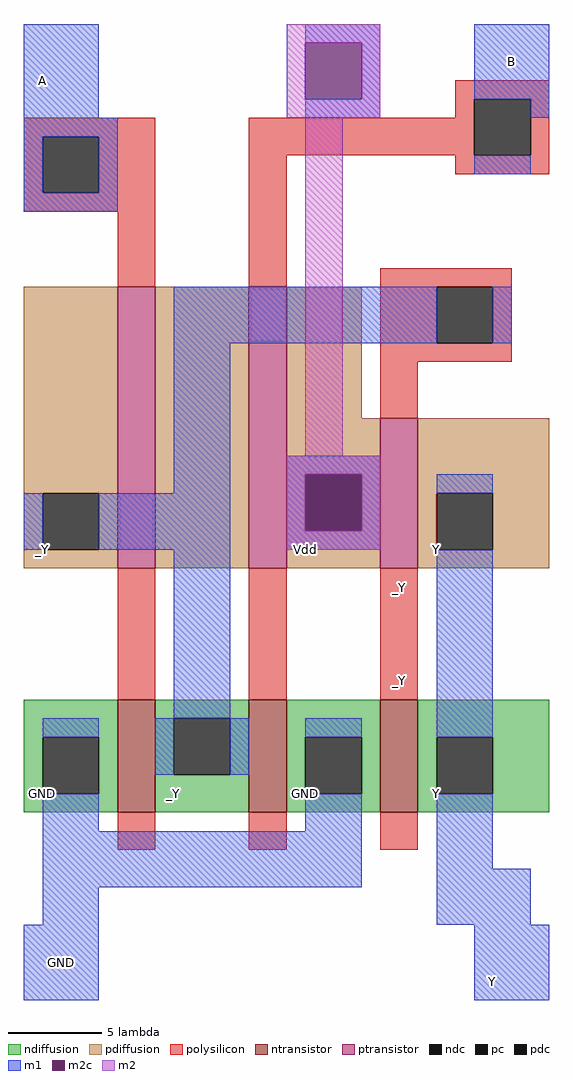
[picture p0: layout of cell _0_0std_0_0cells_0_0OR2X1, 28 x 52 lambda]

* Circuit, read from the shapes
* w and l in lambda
.subckt _0_0std_0_0cells_0_0OR2X1 Y A
M1 _Y A GND VSUBS nfet w=6 l=2
M2 GND B _Y VSUBS nfet w=6 l=2
M3 Y _Y GND VSUBS nfet w=6 l=2
M4 n1 A _Y NWELL pfet w=15 l=2
M5 Vdd B n1 NWELL pfet w=15 l=2
M6 Y _Y Vdd NWELL pfet w=8 l=2
.ends

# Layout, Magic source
magic
tech sky130l
<< ndiffusion >>
rect 8 10 13 12
rect 8 7 9 10
rect 12 7 13 10
rect 8 6 13 7
rect 15 11 20 12
rect 15 8 16 11
rect 19 8 20 11
rect 15 6 20 8
rect 22 10 27 12
rect 22 7 23 10
rect 26 7 27 10
rect 22 6 27 7
rect 29 10 36 12
rect 29 7 30 10
rect 33 7 36 10
rect 29 6 36 7
<< ndc >>
rect 9 7 12 10
rect 16 8 19 11
rect 23 7 26 10
rect 30 7 33 10
<< ntransistor >>
rect 13 6 15 12
rect 20 6 22 12
rect 27 6 29 12
<< pdiffusion >>
rect 8 23 13 34
rect 8 20 9 23
rect 12 20 13 23
rect 8 19 13 20
rect 15 19 20 34
rect 22 27 26 34
rect 22 24 27 27
rect 22 21 23 24
rect 26 21 27 24
rect 22 19 27 21
rect 29 23 36 27
rect 29 20 30 23
rect 33 20 36 23
rect 29 19 36 20
<< pdc >>
rect 9 20 12 23
rect 23 21 26 24
rect 30 20 33 23
<< ptransistor >>
rect 13 19 15 34
rect 20 19 22 34
rect 27 19 29 27
<< polysilicon >>
rect 31 44 36 45
rect 31 43 32 44
rect 8 42 15 43
rect 8 39 9 42
rect 12 39 15 42
rect 8 38 15 39
rect 13 34 15 38
rect 20 41 32 43
rect 35 41 36 44
rect 20 34 22 41
rect 31 40 36 41
rect 27 34 34 35
rect 27 31 30 34
rect 33 31 34 34
rect 27 30 34 31
rect 27 27 29 30
rect 13 12 15 19
rect 20 12 22 19
rect 27 12 29 19
rect 13 4 15 6
rect 20 4 22 6
rect 27 4 29 6
<< pc >>
rect 9 39 12 42
rect 32 41 35 44
rect 30 31 33 34
<< m1 >>
rect 8 43 12 48
rect 23 47 27 48
rect 26 44 27 47
rect 23 43 27 44
rect 32 44 36 48
rect 8 42 13 43
rect 8 39 9 42
rect 12 39 13 42
rect 35 43 36 44
rect 32 40 35 41
rect 8 38 13 39
rect 16 31 30 34
rect 33 31 34 34
rect 16 23 19 31
rect 8 20 9 23
rect 12 20 19 23
rect 22 24 27 25
rect 22 21 23 24
rect 26 21 27 24
rect 22 20 27 21
rect 30 23 33 24
rect 16 11 19 20
rect 9 10 12 11
rect 15 8 16 11
rect 19 8 20 11
rect 23 10 26 11
rect 9 5 12 7
rect 23 5 26 7
rect 9 2 26 5
rect 30 10 33 20
rect 30 3 33 7
rect 9 0 12 2
rect 30 0 35 3
rect 8 -4 12 0
rect 32 -4 36 0
<< m2c >>
rect 23 44 26 47
rect 23 21 26 24
<< m2 >>
rect 22 47 27 48
rect 22 44 23 47
rect 26 44 27 47
rect 22 43 27 44
rect 23 25 25 43
rect 22 24 27 25
rect 22 21 23 24
rect 26 21 27 24
rect 22 20 27 21
<< labels >>
rlabel pdiffusion 30 20 30 20 3 Y
rlabel ndiffusion 30 7 30 7 3 Y
rlabel polysilicon 28 13 28 13 3 _Y
rlabel polysilicon 28 18 28 18 3 _Y
rlabel ndiffusion 23 7 23 7 3 GND
rlabel pdiffusion 23 20 23 20 3 Vdd
rlabel ndiffusion 16 7 16 7 3 _Y
rlabel ndiffusion 9 7 9 7 3 GND
rlabel m1 9 45 9 45 3 A
port 5 e
rlabel pdiffusion 9 20 9 20 3 _Y
rlabel m1 33 -3 33 -3 3 Y
port 1 e
rlabel m1 8 -4 12 0 2 GND
rlabel m1 32 44 36 48 6 B
<< end >>
